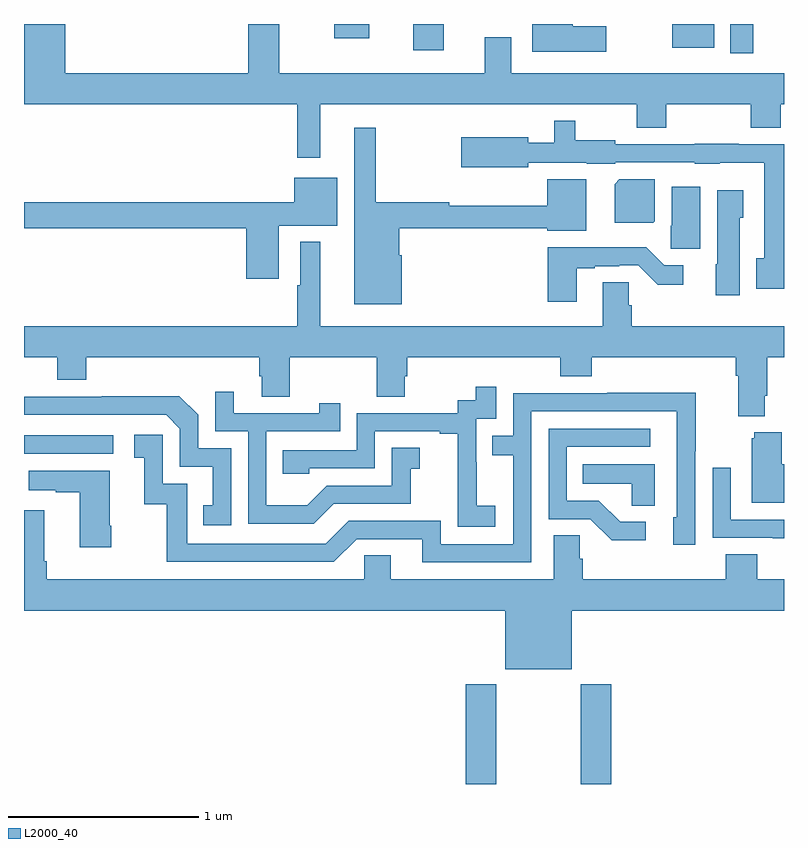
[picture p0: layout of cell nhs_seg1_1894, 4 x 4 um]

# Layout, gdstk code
import gdstk
lib = gdstk.Library(unit=1e-6, precision=1e-09)
def R(c, l, rs):  # rectangles x0, y0, x1, y1
    for r in rs: c.add(gdstk.rectangle(r[:2], r[2:], *l))
def P(c, l, *ps):  # polygons
    for p in ps: c.add(gdstk.Polygon(p, *l))
L2000_40 = (2000, 40)

nhs_seg1_1894 = lib.new_cell('nhs_seg1_1894')
R(nhs_seg1_1894, L2000_40, [(217.325,504.199,217.485,504.724), (217.93,504.199,218.09,504.724), (215,505.938,215.47,506.034), (218.717,508.044,218.839,508.199), (217.049,508.062,217.21,508.199), (218.413,508.073,218.632,508.199), (216.634,508.124,216.818,508.199)])
P(nhs_seg1_1894, L2000_40, [(216.559,507.776),(218.224,507.776),(218.224,507.652),(218.379,507.652),(218.379,507.776),(218.824,507.776),(218.824,507.652),(218.984,507.652),(218.984,507.776),(219,507.776),(219,507.94),(217.564,507.94),(217.564,508.129),(217.424,508.129),(217.424,507.94),(216.343,507.94),(216.343,508.199),(216.179,508.199),(216.179,507.94),(215.218,507.94),(215.218,508.199),(215,508.199),(215,507.776),(216.438,507.776),(216.438,507.495),(216.559,507.495)],
  [(218.065,508.187),(217.888,508.187),(217.888,508.199),(217.676,508.199),(217.676,508.052),(218.065,508.052)],
  [(219,507.567),(218.761,507.567),(218.761,507.569),(218.529,507.569),(218.529,507.567),(218.112,507.567),(218.112,507.586),(217.9,507.586),(217.9,507.691),(217.79,507.691),(217.79,507.575),(217.654,507.575),(217.654,507.604),(217.302,507.604),(217.302,507.446),(217.654,507.446),(217.654,507.47),(217.962,507.47),(217.962,507.464),(218.112,507.464),(218.112,507.471),(218.529,507.471),(218.529,507.464),(218.661,507.464),(218.661,507.47),(218.895,507.47),(218.895,506.966),(218.855,506.966),(218.855,506.805),(219,506.805)],
  [(216.988,506.982),(216.976,506.982),(216.976,507.124),(217.754,507.124),(217.754,507.11),(217.96,507.11),(217.96,507.382),(217.754,507.382),(217.754,507.242),(217.237,507.242),(217.237,507.26),(216.851,507.26),(216.851,507.652),(216.737,507.652),(216.737,506.723),(216.988,506.723)],
  [(216.34,507.137),(216.649,507.137),(216.649,507.391),(216.422,507.391),(216.422,507.26),(215,507.26),(215,507.124),(216.17,507.124),(216.17,506.859),(216.34,506.859)],
  [(218.32,507.16),(218.32,507.382),(218.134,507.382),(218.108,507.356),(218.108,507.152),(218.312,507.152)],
  [(218.56,507.343),(218.408,507.343),(218.408,507.138),(218.404,507.138),(218.404,507.015),(218.56,507.015)],
  [(218.767,507.18),(218.785,507.18),(218.785,507.325),(218.648,507.325),(218.648,506.934),(218.642,506.934),(218.642,506.772),(218.767,506.772)],
  [(218.899,506.242),(218.912,506.242),(218.912,506.444),(219,506.444),(219,506.608),(218.198,506.608),(218.198,506.718),(218.184,506.718),(218.184,506.84),(218.045,506.84),(218.045,506.608),(216.559,506.608),(216.559,507.052),(216.455,507.052),(216.455,506.825),(216.438,506.825),(216.438,506.608),(215,506.608),(215,506.444),(215.174,506.444),(215.174,506.327),(215.327,506.327),(215.327,506.444),(216.239,506.444),(216.239,506.346),(216.251,506.346),(216.251,506.236),(216.399,506.236),(216.399,506.444),(216.856,506.444),(216.856,506.236),(217.003,506.236),(217.003,506.346),(217.016,506.346),(217.016,506.444),(217.823,506.444),(217.823,506.345),(217.988,506.345),(217.988,506.444),(218.747,506.444),(218.747,506.348),(218.759,506.348),(218.759,506.135),(218.899,506.135)],
  [(217.909,506.913),(218.005,506.913),(218.005,506.925),(218.132,506.925),(218.132,506.928),(218.232,506.928),(218.335,506.826),(218.47,506.826),(218.47,506.928),(218.37,506.928),(218.275,507.023),(217.757,507.023),(217.757,506.736),(217.909,506.736)],
  [(217.48,505.663),(217.382,505.663),(217.382,505.892),(217.38,505.892),(217.38,506.121),(217.485,506.121),(217.485,506.29),(217.377,506.29),(217.377,506.22),(217.284,506.22),(217.284,506.151),(216.75,506.151),(216.75,505.956),(216.361,505.956),(216.361,505.833),(216.501,505.833),(216.501,505.86),(216.846,505.86),(216.846,506.055),(217.187,506.055),(217.187,506.043),(217.283,506.043),(217.283,505.759),(217.282,505.759),(217.282,505.553),(217.48,505.553)],
  [(216.631,505.674),(217.035,505.674),(217.035,505.859),(217.084,505.859),(217.084,505.969),(216.936,505.969),(216.936,505.77),(216.594,505.77),(216.49,505.666),(216.276,505.666),(216.276,506.055),(216.665,506.055),(216.665,506.203),(216.554,506.203),(216.554,506.151),(216.103,506.151),(216.103,506.263),(216.006,506.263),(216.006,506.055),(216.18,506.055),(216.18,505.569),(216.526,505.569)],
  [(217.671,506.16),(218.436,506.16),(218.436,505.602),(218.417,505.602),(218.417,505.458),(218.532,505.458),(218.532,505.951),(218.535,505.951),(218.535,506.258),(218.071,506.258),(218.071,506.256),(217.575,506.256),(217.575,506.031),(217.465,506.031),(217.465,505.93),(217.575,505.93),(217.575,505.461),(217.194,505.461),(217.194,505.584),(216.708,505.584),(216.588,505.464),(215.859,505.464),(215.859,505.779),(215.73,505.779),(215.73,506.038),(215.58,506.038),(215.58,505.917),(215.633,505.917),(215.633,505.671),(215.751,505.671),(215.751,505.368),(216.63,505.368),(216.75,505.488),(217.097,505.488),(217.097,505.365),(217.671,505.365)],
  [(216.09,505.965),(215.916,505.965),(215.916,506.142),(215.818,506.24),(215.41,506.24),(215.41,506.238),(215,506.238),(215,506.142),(215.748,506.142),(215.82,506.07),(215.82,505.869),(215.993,505.869),(215.993,505.665),(215.944,505.665),(215.944,505.56),(216.09,505.56)],
  [(218.272,505.578),(218.137,505.578),(218.026,505.689),(217.857,505.689),(217.857,505.974),(218.296,505.974),(218.296,506.07),(217.761,506.07),(217.761,505.593),(217.98,505.593),(218.093,505.481),(218.272,505.481)],
  [(219,505.882),(218.989,505.882),(218.989,506.05),(218.843,506.05),(218.843,506.019),(218.831,506.019),(218.831,505.679),(219,505.679)],
  [(218.32,505.882),(217.942,505.882),(217.942,505.778),(218.199,505.778),(218.199,505.663),(218.32,505.663)],
  [(219,505.59),(218.721,505.59),(218.721,505.864),(218.625,505.864),(218.625,505.494),(218.941,505.494),(218.941,505.493),(219,505.493)],
  [(215.46,505.558),(215.452,505.558),(215.452,505.849),(215.025,505.849),(215.025,505.745),(215.168,505.745),(215.168,505.735),(215.294,505.735),(215.294,505.446),(215.46,505.446)],
  [(217.882,505.112),(219,505.112),(219,505.276),(218.858,505.276),(218.858,505.409),(218.693,505.409),(218.693,505.276),(217.94,505.276),(217.94,505.385),(217.926,505.385),(217.926,505.508),(217.787,505.508),(217.787,505.276),(216.931,505.276),(216.931,505.403),(216.792,505.403),(216.792,505.276),(215.12,505.276),(215.12,505.372),(215.107,505.372),(215.107,505.639),(215,505.639),(215,505.112),(217.532,505.112),(217.532,504.803),(217.882,504.803)])

lib.write_gds('nhs_seg1_1894.gds')
